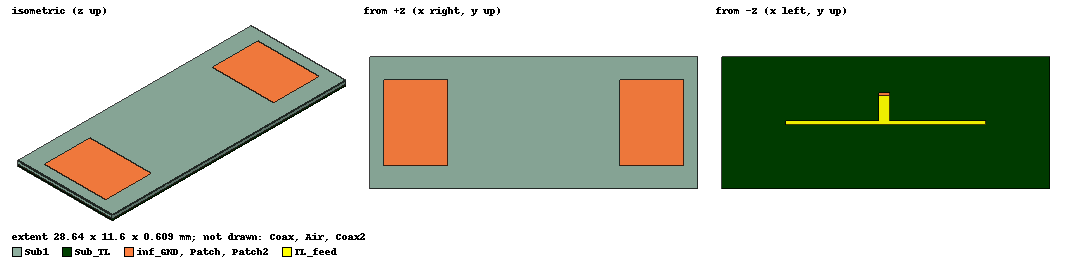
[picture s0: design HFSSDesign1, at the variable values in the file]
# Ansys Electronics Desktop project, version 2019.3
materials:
  vacuum: permittivity=1
  Rogers RT/duroid 5880 (tm): permittivity=2.2 dielectric_loss_tangent=0.0009
  pec: conductivity=1e+30
  Rogers RO4003 (tm): permittivity=3.55 dielectric_loss_tangent=0.0027

design HFSSDesign1 (HFSS, DrivenModal, model units mm)
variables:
  Lp = 5.6mm
  Wp = 7.54mm
  hs = 0.406mm
  Ws = Wp+10*hs
  Ls = 6*hs+Lp*2+dp
  xsub = -Ls/2
  ysub = -Ws/2
  xfeed = 1.1mm  # optimise 0.4620027115mm..1.3860081345mm
  dp = 15mm
  rcoax = 0.16mm
  hcoax = 0.203mm
  rprope = 0.07mm
  Lair = 0.01+Ls
  Wair = 0.01+Ws
  xair = Lair/2
  yair = Wair/2
  hair = 5mm
  yfeed = 0mm
  xp = dp/2
  yp = -Wp/2
  hgnd = -0.032mm
  Xcoax = 2
  WTL_In = 0.673367mm
  LTL_feed = 2.179292mm
  WTL_feed = 0.976256mm
  LTL_Slot = 0.25mm
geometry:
  Sub1 [Rogers RO4003 (tm)] = box(corner=(xsub, ysub, 0mm), size=(Ls, Ws, hs))
  Patch [Rogers RT/duroid 5880 (tm)] = rectangle(corner=(xp, yp, hs), x_size=Lp, y_size=Wp)
  Coax [vacuum] = cylinder(axis=Z, base_centre=(xp+xfeed, yfeed, 0mm), radius=rcoax, height=-hcoax)
  Coax_Pin [pec] = cylinder(axis=Z, base_centre=(xp+xfeed, yfeed, 0mm), radius=rprope, height=-hcoax)
  Prope [pec] = cylinder(axis=Z, base_centre=(xp+xfeed, yfeed, 0mm), radius=rprope, height=hs)
  Air [vacuum] = box(corner=(-xair, -yair, -hcoax), size=(Lair, Wair, hair +0.3mm))
  Patch2 = rectangle(corner=(xp-Lp-dp, yp, hs), x_size=Lp, y_size=Wp)
  Coax2 [vacuum] = cylinder(axis=Z, base_centre=(-(xp+xfeed), yfeed, 0mm), radius=rcoax, height=-hcoax)
  Coax_Pin2 [pec] = cylinder(axis=Z, base_centre=(-(xp+xfeed), yfeed, 0mm), radius=rprope, height=-hcoax)
  Prope2 [pec] = cylinder(axis=Z, base_centre=(-(xp+xfeed), yfeed, 0mm), radius=rprope, height=hs)
  inf_GND [pec] = box(corner=(xsub, ysub, 0mm), size=(Ls, Ws, hgnd))
  Cylinder_cut_2 = cylinder(axis=Z, base_centre=(-(xp+xfeed), yfeed, 0), radius=rcoax, height=hgnd)
  Cylinder_cut_1 = cylinder(axis=Z, base_centre=(xp+xfeed, yfeed, 0), radius=rcoax, height=hgnd)
  inf_GND.subtract(Cylinder_cut_1)
  inf_GND.subtract(Cylinder_cut_2)
  Sub_TL [Rogers RO4003 (tm)] = box(corner=(xsub, ysub, 0mm), size=(Ls, Ws, -hcoax))
  TL_In = rectangle(corner=(xfeed+xp+rcoax, yfeed -rcoax, -hcoax), x_size=-2*(xfeed+xp+rcoax), y_size=Xcoax * rcoax)
  TL_feed = rectangle(corner=(-WTL_In/2, yfeed -rcoax+Xcoax * rcoax, -hcoax), x_size=WTL_feed, y_size=LTL_feed)
  TL_feed.unite(TL_In)
  Input_Port = rectangle(corner=(-WTL_In/2, yfeed -rcoax+Xcoax * rcoax +LTL_feed, -hcoax), z_size=hcoax+hgnd, x_size=WTL_feed)
  Input_Port_Slot = box(corner=(-WTL_In/2, yfeed -rcoax+Xcoax * rcoax +LTL_feed, -hcoax), size=(WTL_feed, LTL_Slot, hcoax+hgnd))
  Sub_TL.subtract(Input_Port_Slot)
  group Input_feed1 = Coax, Coax_Pin, Prope
  group Input_feed2 = Coax2, Coax_Pin2, Prope2
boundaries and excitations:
  PerfE_Patch: Perfect E Objects=Patch
  Rad1: Radiation Faces=Air.face(+x, +y, -y, -x, +z)
  PerfE1: Perfect E Objects=Patch2
  PerfE2: Perfect E Objects=TL_feed
  1: Lumped Port Objects=Input_Port Modes{Mode1{IntLine{middle of Input_Port.edge(z at corner) -> middle of Input_Port.edge(z opposite corner)} CharImp=Zpi RenormImp=50ohm}} Impedance=5.91ohm
  reference conductors: inf_GND
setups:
  Setup1: HfssDriven Frequency=20GHz MaxDeltaS=0.02 MaximumPasses=18 MinimumPasses=1 MinimumConvergedPasses=1 PercentRefinement=30 BasisOrder=1 PortAccuracy=2
    sweep Sweep: 10GHz to 30GHz, 201 points; Type=Fast SaveFields SaveRadFields
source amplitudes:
  1:1: 1W 0deg
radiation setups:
  e_plane: Infinite Sphere Theta=-180deg..180deg step 2deg Phi=0deg..0deg step 1deg
  h_plane: Infinite Sphere Theta=-180deg..180deg step 2deg Phi=90deg..90deg step 1deg
  3d: Infinite Sphere Theta=-180deg..180deg step 2deg Phi=0deg..360deg step 2deg
  Infinite Sphere1: Infinite Sphere Theta=-180deg..180deg step 2deg Phi=0deg..360deg step 2deg
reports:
  Eradation_pattern: abs(rETotal) vs Theta on Setup1 : LastAdaptive, e_plane [Phi=all Freq=20GHz]
  Hradation_pattern: abs(rETotal) vs Theta on Setup1 : LastAdaptive, h_plane [Phi=all Freq=20GHz]
  Gain_3D: mag(GainTotal) vs Phi, Theta on Setup1 : LastAdaptive, 3d [Freq=20GHz]
  Gain_2D: dB10normalize(rETotal) vs Theta on Setup1 : Sweep, e_plane [Phi=all Freq=20GHz]; markers m1 at 22deg, m2 at -22deg, m5 at 78deg, m7 at -120deg, m8 at 116deg, m9 at 180deg
  VSWR: VSWR(1) vs Freq on Setup1 : Sweep; markers MX1 at x=2e+10
  C0_X_db: dB(GainPhi), dB(GainTheta) vs Theta on Setup1 : Sweep, 3d [Phi=0deg Freq=20GHz]; markers m1 at 10deg, m2 at 2deg
  S11: dB(S(1,1)) vs Freq on Setup1 : Sweep [Lp=all dp=15mm rprope=all]; markers MX1 at x=2e+10, MY1 at y=-10.0582
  Zin: mag(Z(1,1)) vs Freq on Setup1 : Sweep; markers MX1 at x=2e+10
  Gain Plot 1: dB(GainTotal) vs Freq on Setup1 : Sweep, Infinite Sphere1 [Phi=0deg Theta=0deg]
  Radiation_Effecincy_Vs_Frequency: dB(DirPhi), dB(DirTheta) vs Freq on Setup1 : Sweep, Infinite Sphere1 [Phi=0deg Theta=0deg]; markers MX1 at x=2e+10, MY1 at y=0.480016
  Smith Chart: S(1,1) on Setup1 : Sweep [Freq=all]
  Gain Plot 2: dB(GainTotal) vs Theta on Setup1 : Sweep, e_plane [Phi=all Freq=20GHz]
